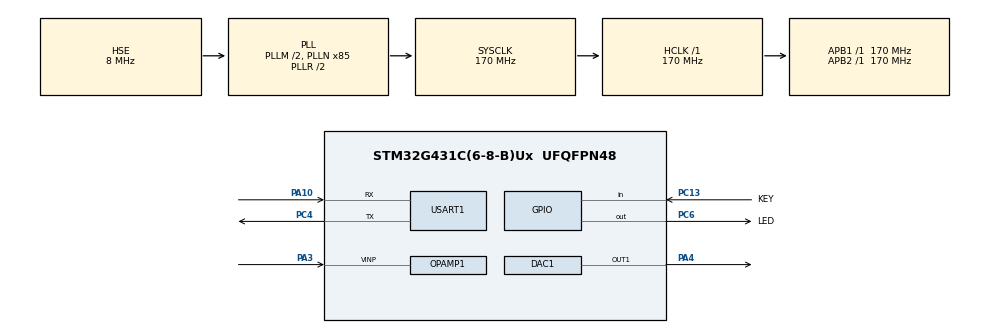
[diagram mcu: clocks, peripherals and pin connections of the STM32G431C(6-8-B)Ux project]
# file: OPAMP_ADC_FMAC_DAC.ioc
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ADC1.Channel-0\#ChannelRegularConversion=ADC_CHANNEL_VOPAMP1
ADC1.ClockPrescaler=ADC_CLOCK_ASYNC_DIV12
ADC1.ContinuousConvMode=DISABLE
ADC1.DMAContinuousRequests=ENABLE
ADC1.DiscontinuousConvMode=DISABLE
ADC1.EOCSelection=ADC_EOC_SINGLE_CONV
ADC1.ExternalTrigConv=ADC_EXTERNALTRIG_T6_TRGO
ADC1.NbrOfConversion=1
ADC1.NbrOfConversionFlag=1
ADC1.OffsetNumber-0\#ChannelRegularConversion=ADC_OFFSET_NONE
ADC1.Overrun=ADC_OVR_DATA_OVERWRITTEN
ADC1.Rank-0\#ChannelRegularConversion=1
ADC1.SamplingTime-0\#ChannelRegularConversion=ADC_SAMPLETIME_2CYCLES_5
ADC1.master=1
DAC1.DAC_DMADoubleDataMode-DAC_OUT1=ENABLE
DAC1.DAC_Trigger_OUT1-DAC_OUT1=DAC_TRIGGER_T6_TRGO
Dma.ADC1.0.Direction=DMA_PERIPH_TO_MEMORY
Dma.ADC1.0.EventEnable=DISABLE
Dma.ADC1.0.Instance=DMA1_Channel1
Dma.ADC1.0.MemDataAlignment=DMA_MDATAALIGN_WORD
Dma.ADC1.0.MemInc=DMA_MINC_ENABLE
Dma.ADC1.0.Mode=DMA_CIRCULAR
Dma.ADC1.0.PeriphDataAlignment=DMA_PDATAALIGN_WORD
Dma.ADC1.0.PeriphInc=DMA_PINC_DISABLE
Dma.ADC1.0.Polarity=HAL_DMAMUX_REQ_GEN_RISING
Dma.ADC1.0.Priority=DMA_PRIORITY_LOW
Dma.ADC1.0.RequestNumber=1
Dma.ADC1.0.SignalID=NONE
Dma.ADC1.0.SyncEnable=DISABLE
Dma.ADC1.0.SyncPolarity=HAL_DMAMUX_SYNC_NO_EVENT
Dma.ADC1.0.SyncRequestNumber=1
Dma.ADC1.0.SyncSignalID=NONE
Dma.DAC1_CH1.2.Direction=DMA_MEMORY_TO_PERIPH
Dma.DAC1_CH1.2.EventEnable=DISABLE
Dma.DAC1_CH1.2.Instance=DMA1_Channel3
Dma.DAC1_CH1.2.MemDataAlignment=DMA_MDATAALIGN_HALFWORD
Dma.DAC1_CH1.2.MemInc=DMA_MINC_ENABLE
Dma.DAC1_CH1.2.Mode=DMA_CIRCULAR
Dma.DAC1_CH1.2.PeriphDataAlignment=DMA_PDATAALIGN_WORD
Dma.DAC1_CH1.2.PeriphInc=DMA_PINC_DISABLE
Dma.DAC1_CH1.2.Polarity=HAL_DMAMUX_REQ_GEN_RISING
Dma.DAC1_CH1.2.Priority=DMA_PRIORITY_LOW
Dma.DAC1_CH1.2.RequestNumber=1
Dma.DAC1_CH1.2.SignalID=NONE
Dma.DAC1_CH1.2.SyncEnable=DISABLE
Dma.DAC1_CH1.2.SyncPolarity=HAL_DMAMUX_SYNC_NO_EVENT
Dma.DAC1_CH1.2.SyncRequestNumber=1
Dma.DAC1_CH1.2.SyncSignalID=NONE
Dma.FMAC_READ.1.Direction=DMA_PERIPH_TO_MEMORY
Dma.FMAC_READ.1.EventEnable=DISABLE
Dma.FMAC_READ.1.Instance=DMA1_Channel2
Dma.FMAC_READ.1.MemDataAlignment=DMA_MDATAALIGN_HALFWORD
Dma.FMAC_READ.1.MemInc=DMA_MINC_ENABLE
Dma.FMAC_READ.1.Mode=DMA_CIRCULAR
Dma.FMAC_READ.1.PeriphDataAlignment=DMA_PDATAALIGN_WORD
Dma.FMAC_READ.1.PeriphInc=DMA_PINC_DISABLE
Dma.FMAC_READ.1.Polarity=HAL_DMAMUX_REQ_GEN_RISING
Dma.FMAC_READ.1.Priority=DMA_PRIORITY_LOW
Dma.FMAC_READ.1.RequestNumber=1
Dma.FMAC_READ.1.SignalID=NONE
Dma.FMAC_READ.1.SyncEnable=DISABLE
Dma.FMAC_READ.1.SyncPolarity=HAL_DMAMUX_SYNC_NO_EVENT
Dma.FMAC_READ.1.SyncRequestNumber=1
Dma.FMAC_READ.1.SyncSignalID=NONE
Dma.Request0=ADC1
Dma.Request1=FMAC_READ
Dma.Request2=DAC1_CH1
Mcu.Family=STM32G4
Mcu.Name=STM32G431C(6-8-B)Ux
Mcu.Package=UFQFPN48
NVIC.DMA1_Channel1_IRQn=true\:0\:0\:false\:false\:true\:false\:true\:true
NVIC.DMA1_Channel2_IRQn=true\:0\:0\:false\:false\:true\:false\:true\:true
NVIC.DMA1_Channel3_IRQn=true\:0\:0\:false\:false\:true\:false\:true\:true
NVIC.PriorityGroup=NVIC_PRIORITYGROUP_4
PA10.Mode=Asynchronous
PA10.Signal=USART1_RX
PA13.Mode=Trace_Asynchronous_SW
PA13.Signal=SYS_JTMS-SWDIO
PA14.Mode=Trace_Asynchronous_SW
PA14.Signal=SYS_JTCK-SWCLK
PA3.Mode=PGA_Internally_Connected
PA3.Signal=OPAMP1_VINP
PA4.Signal=COMP_DAC11_group
PB3.Mode=Trace_Asynchronous_SW
PB3.Signal=SYS_JTDO-SWO
PC13.GPIO_Label=KEY
PC13.GPIO_PuPd=GPIO_PULLDOWN
PC13.Signal=GPIO_Input
PC4.Mode=Asynchronous
PC4.Signal=USART1_TX
PC6.GPIO_Label=LED
PC6.GPIO_ModeDefaultOutputPP=GPIO_MODE_OUTPUT_PP
PC6.GPIO_Speed=GPIO_SPEED_FREQ_LOW
PC6.PinState=GPIO_PIN_RESET
PC6.Signal=GPIO_Output
PF0-OSC_IN.Mode=HSE-External-Oscillator
PF0-OSC_IN.Signal=RCC_OSC_IN
PF1-OSC_OUT.Mode=HSE-External-Oscillator
PF1-OSC_OUT.Signal=RCC_OSC_OUT
ProjectManager.HeapSize=0x200
ProjectManager.StackSize=0x400
ProjectManager.TargetToolchain=STM32CubeIDE
RCC.ADC12Freq_Value=170000000
RCC.AHBFreq_Value=170000000
RCC.APB1Freq_Value=170000000
RCC.APB1TimFreq_Value=170000000
RCC.APB2Freq_Value=170000000
RCC.APB2TimFreq_Value=170000000
RCC.CortexFreq_Value=170000000
RCC.EXTERNAL_CLOCK_VALUE=12288000
RCC.HCLKFreq_Value=170000000
RCC.HSE_VALUE=8000000
RCC.HSI48_VALUE=48000000
RCC.HSI_VALUE=16000000
RCC.LSE_VALUE=32768
RCC.PLLM=RCC_PLLM_DIV2
RCC.PLLN=85
RCC.PLLSourceVirtual=RCC_PLLSOURCE_HSE
RCC.SYSCLKFreq_VALUE=170000000
RCC.SYSCLKSource=RCC_SYSCLKSOURCE_PLLCLK
RCC.USBFreq_Value=170000000
RCC.VCOOutputFreq_Value=340000000
SH.COMP_DAC11_group.0=DAC1_OUT1,DAC_OUT1
TIM6.PeriodNoDither=1000
TIM6.Prescaler=170-1
TIM6.TIM_MasterOutputTrigger=TIM_TRGO_UPDATE
USART1.VirtualMode-Asynchronous=VM_ASYNC
VP_ADC1_OPAMP_INTERNAL1.Mode=IN-OPAMP1
VP_FMAC_VS_FMAC.Mode=FMAC_Activate
VP_SYS_VS_DBSignals.Mode=DisableDeadBatterySignals
VP_TIM6_VS_ClockSourceINT.Mode=Enable_Timer
board=custom

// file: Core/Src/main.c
/* USER CODE BEGIN Header */
/**
  ******************************************************************************
  * @file           : main.c
  * @brief          : Main program body
  ******************************************************************************
  * @attention
  *
  * Copyright (c) 2025 STMicroelectronics.
  * All rights reserved.
  *
  * This software is licensed under terms that can be found in the LICENSE file
  * in the root directory of this software component.
  * If no LICENSE file comes with this software, it is provided AS-IS.
  *
  ******************************************************************************
  */
/* USER CODE END Header */
#include "main.h"

/* USER CODE BEGIN Includes */
#include "console.h"
/* USER CODE END Includes */

/* USER CODE BEGIN PD */

#define FMAC_OUT_BUFFER_SIZE 1
#define FMAC_IN_BUFFER_SIZE 1
#define FMAC_TAPS 59 // Maximum see in FMAC_PARAM_P_MAX_FIR;  (127 for G431)

/* USER CODE END PD */

ADC_HandleTypeDef hadc1;
DMA_HandleTypeDef hdma_adc1;

DAC_HandleTypeDef hdac1;
DMA_HandleTypeDef hdma_dac1_ch1;

FMAC_HandleTypeDef hfmac;
DMA_HandleTypeDef hdma_fmac_read;

OPAMP_HandleTypeDef hopamp1;

TIM_HandleTypeDef htim6;

UART_HandleTypeDef huart1;

/* USER CODE BEGIN PV */

uint16_t FMAC_OutBuf[FMAC_OUT_BUFFER_SIZE];

/* Please use this tool to get coefficients: https://fiiir.com/
the obtained coefficients must be multiplied by 32768
the coefficients must be integers
*/
static int16_t FMAC_CoeffB[FMAC_TAPS] = {0, 0, 3, 8, 16, 27, 42, 61, 87, 118, 156, 201, 253, 314, 382, 457, 539, 626, 717, 810, 903, 995, 1083, 1165, 1238, 1302, 1353, 1390, 1413, 1421, 1413, 1390, 1353, 1302, 1238, 1165, 1083, 995, 903, 810, 717, 626, 539, 457, 382, 314, 253, 201, 156, 118, 87, 61, 42, 27, 16, 8, 3, 0, 0};

// Variables for SWV Data Trace Timeline Graph
//uint16_t ADC_Value, FMAC_Value;

/* USER CODE END PV */

void SystemClock_Config(void);
static void MX_GPIO_Init(void);
static void MX_DMA_Init(void);
static void MX_ADC1_Init(void);
static void MX_FMAC_Init(void);
static void MX_USART1_UART_Init(void);
static void MX_TIM6_Init(void);
static void MX_OPAMP1_Init(void);
static void MX_DAC1_Init(void);

int main(void)
{

  /* MCU Configuration--------------------------------------------------------*/

  /* Reset of all peripherals, Initializes the Flash interface and the Systick. */
  HAL_Init();

  /* Configure the system clock */
  SystemClock_Config();

  /* Initialize all configured peripherals */
  MX_GPIO_Init();
  MX_DMA_Init();
  MX_ADC1_Init();
  MX_FMAC_Init();
  MX_USART1_UART_Init();
  MX_TIM6_Init();
  MX_OPAMP1_Init();
  MX_DAC1_Init();
  /* USER CODE BEGIN 2 */

  FMAC_FilterConfigTypeDef sFmacConfig;

  sFmacConfig.InputBaseAddress = FMAC_TAPS; 		/*!< Base address of the input buffer (X1) within the internal memory
                                                     (0x00 to 0xFF). Ignored if InputBufferSize is set to 0
                                                     (previous configuration kept).
                                                     Note: the buffers can overlap or even coincide exactly. */

  sFmacConfig.InputBufferSize = FMAC_TAPS + 1;		/*!< Number of 16-bit words allocated to the input buffer
                                                     (including the optional "headroom").
                                                     0 if a previous configuration should be kept. */

  sFmacConfig.InputThreshold = 0; 					/*!< Input threshold: the buffer full flag will be set if the number
                                                     of free spaces in the buffer is lower than this threshold.
                                                     This parameter can be a value
                                                     of @ref FMAC_Data_Buffer_Threshold. */

  sFmacConfig.CoeffBaseAddress = 0; 				/*!< Base address of the coefficient buffer (X2) within the internal
                                                     memory (0x00 to 0xFF). Ignored if CoeffBufferSize is set to 0
                                                     (previous configuration kept).
                                                     Note: the buffers can overlap or even coincide exactly. */

  sFmacConfig.CoeffBufferSize = FMAC_TAPS; 		/*!< Number of 16-bit words allocated to the coefficient buffer.
                                                     0 if a previous configuration should be kept. */

  sFmacConfig.OutputBaseAddress = FMAC_TAPS*2 + 1; /*!< Base address of the output buffer (Y) within the internal
                                                     memory (0x00 to 0xFF). Ignored if OuputBufferSize is set to 0
                                                     (previous configuration kept).
                                                     Note: the buffers can overlap or even coincide exactly. */

  sFmacConfig.OutputBufferSize = FMAC_OUT_BUFFER_SIZE;/*!< Number of 16-bit words allocated to the output buffer
                                                    (including the optional "headroom").
                                                     0 if a previous configuration should be kept. */

  sFmacConfig.OutputThreshold = 0; 					/*!< Output threshold: the buffer empty flag will be set if the number
                                                     of unread values in the buffer is lower than this threshold.
                                                     This parameter can be a value
                                                     of @ref FMAC_Data_Buffer_Threshold. */

  sFmacConfig.pCoeffA = NULL; 						/*!< [IIR only] Initialization of the coefficient vector A.
                                                     If not needed, it should be set to NULL. */

  sFmacConfig.CoeffASize = 0;						/*!< Size of the coefficient vector A. */

  sFmacConfig.pCoeffB = FMAC_CoeffB; 				/*!< Initialization of the coefficient vector B.
                                                     If not needed (re-use of a previously loaded buffer),
                                                     it should be set to NULL. */

  sFmacConfig.CoeffBSize = FMAC_TAPS; 			/*!< Size of the coefficient vector B. */

  sFmacConfig.InputAccess = FMAC_BUFFER_ACCESS_NONE;/*!< Access to the input buffer (internal memory area):
                                                     DMA, IT, Polling, None.
                                                     This parameter can be a value of @ref FMAC_Buffer_Access. */

  sFmacConfig.OutputAccess = FMAC_BUFFER_ACCESS_DMA;/*!< Access to the output buffer (internal memory area):
                                                     DMA, IT, Polling, None.
                                                     This parameter can be a value of @ref FMAC_Buffer_Access. */

  sFmacConfig.Clip = FMAC_CLIP_ENABLED; 			/*!< Enable or disable the clipping feature. If the q1.15 range
                                                     is exceeded, wrapping is done when the clipping feature is disabled
                                                     and saturation is done when the clipping feature is enabled.
                                                     This parameter can be a value of @ref FMAC_Clip_State. */

  sFmacConfig.Filter = FMAC_FUNC_CONVO_FIR; 		/*!< Filter type.
                                                     This parameter can be a value
                                                     of @ref FMAC_Functions (filter related values). */

  sFmacConfig.P = FMAC_TAPS; 						/*!< Parameter P (vector length, number of filter taps, etc.). */

  sFmacConfig.Q = 0; 								/*!< Parameter Q (vector length, etc.). Ignored if not needed. */

  sFmacConfig.R = 0;  								/*!< Parameter R (gain, etc.). Ignored if not needed. */

  if (HAL_FMAC_FilterConfig(&hfmac, &sFmacConfig) != HAL_OK) {
	  Error_Handler();
  }

  // OPAMP Enable
  HAL_OPAMP_SelfCalibrate(&hopamp1);
  HAL_OPAMP_Start(&hopamp1);

  // Start FMAC
  HAL_FMAC_FilterStart(&hfmac, (int16_t*)&FMAC_OutBuf, (uint16_t*)&sFmacConfig.OutputBufferSize);

  // Calibrate ADC
  HAL_ADCEx_Calibration_Start(&hadc1, ADC_SINGLE_ENDED);

  // Start ADC with DMA. ADC Convertation result will placed to FMAC->WDATA
  HAL_ADC_Start_DMA(&hadc1, (uint32_t*)&FMAC->WDATA, FMAC_IN_BUFFER_SIZE);

  // Start DAC with DMA
  HAL_DAC_Start_DMA(&hdac1, DAC_CHANNEL_1, (uint32_t*)&FMAC_OutBuf[0], 1, DAC_ALIGN_12B_R);

  // Start Clock Timer
  HAL_TIM_Base_Start(&htim6);

  printf("\r\nStart\r\n");

  /* USER CODE END 2 */

  /* Infinite loop */
  /* USER CODE BEGIN WHILE */
  while (1)
  {
	  //ADC_Value = FMAC->WDATA;
	  //FMAC_Value = FMAC_OutBuf[0];

	  HAL_Delay(1);
    /* USER CODE END WHILE */

  }
}

void SystemClock_Config(void)
{
  RCC_OscInitTypeDef RCC_OscInitStruct = {0};
  RCC_ClkInitTypeDef RCC_ClkInitStruct = {0};

  /** Configure the main internal regulator output voltage
  */
  HAL_PWREx_ControlVoltageScaling(PWR_REGULATOR_VOLTAGE_SCALE1_BOOST);

  /** Initializes the RCC Oscillators according to the specified parameters
  * in the RCC_OscInitTypeDef structure.
  */
  RCC_OscInitStruct.OscillatorType = RCC_OSCILLATORTYPE_HSE;
  RCC_OscInitStruct.HSEState = RCC_HSE_ON;
  RCC_OscInitStruct.PLL.PLLState = RCC_PLL_ON;
  RCC_OscInitStruct.PLL.PLLSource = RCC_PLLSOURCE_HSE;
  RCC_OscInitStruct.PLL.PLLM = RCC_PLLM_DIV2;
  RCC_OscInitStruct.PLL.PLLN = 85;
  RCC_OscInitStruct.PLL.PLLP = RCC_PLLP_DIV2;
  RCC_OscInitStruct.PLL.PLLQ = RCC_PLLQ_DIV2;
  RCC_OscInitStruct.PLL.PLLR = RCC_PLLR_DIV2;
  if (HAL_RCC_OscConfig(&RCC_OscInitStruct) != HAL_OK)
  {
    Error_Handler();
  }

  /** Initializes the CPU, AHB and APB buses clocks
  */
  RCC_ClkInitStruct.ClockType = RCC_CLOCKTYPE_HCLK|RCC_CLOCKTYPE_SYSCLK
                              |RCC_CLOCKTYPE_PCLK1|RCC_CLOCKTYPE_PCLK2;
  RCC_ClkInitStruct.SYSCLKSource = RCC_SYSCLKSOURCE_PLLCLK;
  RCC_ClkInitStruct.AHBCLKDivider = RCC_SYSCLK_DIV1;
  RCC_ClkInitStruct.APB1CLKDivider = RCC_HCLK_DIV1;
  RCC_ClkInitStruct.APB2CLKDivider = RCC_HCLK_DIV1;

  if (HAL_RCC_ClockConfig(&RCC_ClkInitStruct, FLASH_LATENCY_4) != HAL_OK)
  {
    Error_Handler();
  }
}

static void MX_ADC1_Init(void)
{

  ADC_MultiModeTypeDef multimode = {0};
  ADC_ChannelConfTypeDef sConfig = {0};

  /** Common config
  */
  hadc1.Instance = ADC1;
  hadc1.Init.ClockPrescaler = ADC_CLOCK_ASYNC_DIV12;
  hadc1.Init.Resolution = ADC_RESOLUTION_12B;
  hadc1.Init.DataAlign = ADC_DATAALIGN_RIGHT;
  hadc1.Init.GainCompensation = 0;
  hadc1.Init.ScanConvMode = ADC_SCAN_DISABLE;
  hadc1.Init.EOCSelection = ADC_EOC_SINGLE_CONV;
  hadc1.Init.LowPowerAutoWait = DISABLE;
  hadc1.Init.ContinuousConvMode = DISABLE;
  hadc1.Init.NbrOfConversion = 1;
  hadc1.Init.DiscontinuousConvMode = DISABLE;
  hadc1.Init.ExternalTrigConv = ADC_EXTERNALTRIG_T6_TRGO;
  hadc1.Init.ExternalTrigConvEdge = ADC_EXTERNALTRIGCONVEDGE_RISING;
  hadc1.Init.DMAContinuousRequests = ENABLE;
  hadc1.Init.Overrun = ADC_OVR_DATA_OVERWRITTEN;
  hadc1.Init.OversamplingMode = DISABLE;
  if (HAL_ADC_Init(&hadc1) != HAL_OK)
  {
    Error_Handler();
  }

  /** Configure the ADC multi-mode
  */
  multimode.Mode = ADC_MODE_INDEPENDENT;
  if (HAL_ADCEx_MultiModeConfigChannel(&hadc1, &multimode) != HAL_OK)
  {
    Error_Handler();
  }

  /** Configure Regular Channel
  */
  sConfig.Channel = ADC_CHANNEL_VOPAMP1;
  sConfig.Rank = ADC_REGULAR_RANK_1;
  sConfig.SamplingTime = ADC_SAMPLETIME_2CYCLES_5;
  sConfig.SingleDiff = ADC_SINGLE_ENDED;
  sConfig.OffsetNumber = ADC_OFFSET_NONE;
  sConfig.Offset = 0;
  if (HAL_ADC_ConfigChannel(&hadc1, &sConfig) != HAL_OK)
  {
    Error_Handler();
  }

}

static void MX_DAC1_Init(void)
{

  DAC_ChannelConfTypeDef sConfig = {0};

  /** DAC Initialization
  */
  hdac1.Instance = DAC1;
  if (HAL_DAC_Init(&hdac1) != HAL_OK)
  {
    Error_Handler();
  }

  /** DAC channel OUT1 config
  */
  sConfig.DAC_HighFrequency = DAC_HIGH_FREQUENCY_INTERFACE_MODE_AUTOMATIC;
  sConfig.DAC_DMADoubleDataMode = ENABLE;
  sConfig.DAC_SignedFormat = DISABLE;
  sConfig.DAC_SampleAndHold = DAC_SAMPLEANDHOLD_DISABLE;
  sConfig.DAC_Trigger = DAC_TRIGGER_T6_TRGO;
  sConfig.DAC_Trigger2 = DAC_TRIGGER_NONE;
  sConfig.DAC_OutputBuffer = DAC_OUTPUTBUFFER_ENABLE;
  sConfig.DAC_ConnectOnChipPeripheral = DAC_CHIPCONNECT_EXTERNAL;
  sConfig.DAC_UserTrimming = DAC_TRIMMING_FACTORY;
  if (HAL_DAC_ConfigChannel(&hdac1, &sConfig, DAC_CHANNEL_1) != HAL_OK)
  {
    Error_Handler();
  }

}

static void MX_FMAC_Init(void)
{

  hfmac.Instance = FMAC;
  if (HAL_FMAC_Init(&hfmac) != HAL_OK)
  {
    Error_Handler();
  }

}

static void MX_OPAMP1_Init(void)
{

  hopamp1.Instance = OPAMP1;
  hopamp1.Init.PowerMode = OPAMP_POWERMODE_NORMALSPEED;
  hopamp1.Init.Mode = OPAMP_PGA_MODE;
  hopamp1.Init.NonInvertingInput = OPAMP_NONINVERTINGINPUT_IO1;
  hopamp1.Init.InternalOutput = ENABLE;
  hopamp1.Init.TimerControlledMuxmode = OPAMP_TIMERCONTROLLEDMUXMODE_DISABLE;
  hopamp1.Init.PgaConnect = OPAMP_PGA_CONNECT_INVERTINGINPUT_NO;
  hopamp1.Init.PgaGain = OPAMP_PGA_GAIN_2_OR_MINUS_1;
  hopamp1.Init.UserTrimming = OPAMP_TRIMMING_FACTORY;
  if (HAL_OPAMP_Init(&hopamp1) != HAL_OK)
  {
    Error_Handler();
  }

}

static void MX_TIM6_Init(void)
{

  TIM_MasterConfigTypeDef sMasterConfig = {0};

  htim6.Instance = TIM6;
  htim6.Init.Prescaler = 170-1;
  htim6.Init.CounterMode = TIM_COUNTERMODE_UP;
  htim6.Init.Period = 1000;
  htim6.Init.AutoReloadPreload = TIM_AUTORELOAD_PRELOAD_DISABLE;
  if (HAL_TIM_Base_Init(&htim6) != HAL_OK)
  {
    Error_Handler();
  }
  sMasterConfig.MasterOutputTrigger = TIM_TRGO_UPDATE;
  sMasterConfig.MasterSlaveMode = TIM_MASTERSLAVEMODE_DISABLE;
  if (HAL_TIMEx_MasterConfigSynchronization(&htim6, &sMasterConfig) != HAL_OK)
  {
    Error_Handler();
  }

}

static void MX_USART1_UART_Init(void)
{

  huart1.Instance = USART1;
  huart1.Init.BaudRate = 115200;
  huart1.Init.WordLength = UART_WORDLENGTH_8B;
  huart1.Init.StopBits = UART_STOPBITS_1;
  huart1.Init.Parity = UART_PARITY_NONE;
  huart1.Init.Mode = UART_MODE_TX_RX;
  huart1.Init.HwFlowCtl = UART_HWCONTROL_NONE;
  huart1.Init.OverSampling = UART_OVERSAMPLING_16;
  huart1.Init.OneBitSampling = UART_ONE_BIT_SAMPLE_DISABLE;
  huart1.Init.ClockPrescaler = UART_PRESCALER_DIV1;
  huart1.AdvancedInit.AdvFeatureInit = UART_ADVFEATURE_NO_INIT;
  if (HAL_UART_Init(&huart1) != HAL_OK)
  {
    Error_Handler();
  }
  if (HAL_UARTEx_SetTxFifoThreshold(&huart1, UART_TXFIFO_THRESHOLD_1_8) != HAL_OK)
  {
    Error_Handler();
  }
  if (HAL_UARTEx_SetRxFifoThreshold(&huart1, UART_RXFIFO_THRESHOLD_1_8) != HAL_OK)
  {
    Error_Handler();
  }
  if (HAL_UARTEx_DisableFifoMode(&huart1) != HAL_OK)
  {
    Error_Handler();
  }

}

static void MX_DMA_Init(void)
{

  /* DMA controller clock enable */
  __HAL_RCC_DMAMUX1_CLK_ENABLE();
  __HAL_RCC_DMA1_CLK_ENABLE();

  /* DMA interrupt init */
  /* DMA1_Channel1_IRQn interrupt configuration */
  HAL_NVIC_SetPriority(DMA1_Channel1_IRQn, 0, 0);
  HAL_NVIC_EnableIRQ(DMA1_Channel1_IRQn);
  /* DMA1_Channel2_IRQn interrupt configuration */
  HAL_NVIC_SetPriority(DMA1_Channel2_IRQn, 0, 0);
  HAL_NVIC_EnableIRQ(DMA1_Channel2_IRQn);
  /* DMA1_Channel3_IRQn interrupt configuration */
  HAL_NVIC_SetPriority(DMA1_Channel3_IRQn, 0, 0);
  HAL_NVIC_EnableIRQ(DMA1_Channel3_IRQn);

}

static void MX_GPIO_Init(void)
{
  GPIO_InitTypeDef GPIO_InitStruct = {0};

  /* GPIO Ports Clock Enable */
  __HAL_RCC_GPIOC_CLK_ENABLE();
  __HAL_RCC_GPIOF_CLK_ENABLE();
  __HAL_RCC_GPIOA_CLK_ENABLE();
  __HAL_RCC_GPIOB_CLK_ENABLE();

  /*Configure GPIO pin Output Level */
  HAL_GPIO_WritePin(LED_GPIO_Port, LED_Pin, GPIO_PIN_RESET);

  /*Configure GPIO pin : KEY_Pin */
  GPIO_InitStruct.Pin = KEY_Pin;
  GPIO_InitStruct.Mode = GPIO_MODE_INPUT;
  GPIO_InitStruct.Pull = GPIO_PULLDOWN;
  HAL_GPIO_Init(KEY_GPIO_Port, &GPIO_InitStruct);

  /*Configure GPIO pin : LED_Pin */
  GPIO_InitStruct.Pin = LED_Pin;
  GPIO_InitStruct.Mode = GPIO_MODE_OUTPUT_PP;
  GPIO_InitStruct.Pull = GPIO_NOPULL;
  GPIO_InitStruct.Speed = GPIO_SPEED_FREQ_LOW;
  HAL_GPIO_Init(LED_GPIO_Port, &GPIO_InitStruct);

}

void Error_Handler(void)
{
  __disable_irq();
  while (1)
  {
  }
}
